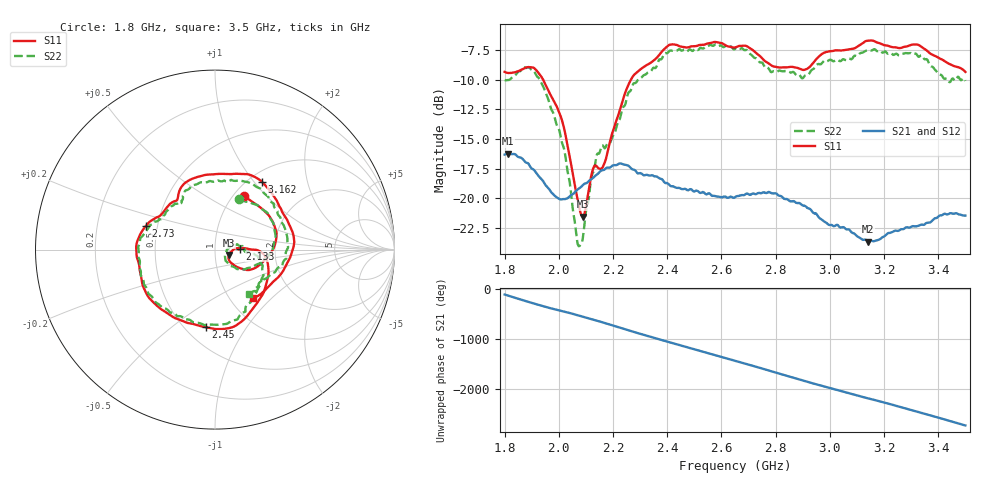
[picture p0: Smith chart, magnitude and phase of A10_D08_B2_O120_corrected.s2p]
! Created with skrf 1.9.0 (http://scikit-rf.org).
# Hz S RI R 50.0
!freq ReS11 ImS11 ReS21 ImS21 ReS12 ImS12 ReS22 ImS22
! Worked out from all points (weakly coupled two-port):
!   1601 points, 1.8 GHz to 3.5 GHz, reference 50 ohm
!   highest |S21| = -16.23 dB at 1.812 GHz (marker M1); lowest = -23.6 dB at 3.142 GHz (marker M2)
!   lowest |S11| = -21.5 dB at 2.089 GHz (marker M3), VSWR 1.18, Z = 58.4 - j3.44 ohm
!   |S11| at or under -10 dB: 1.942 GHz to 2.266 GHz (324.3 MHz wide, 15.4 % of centre)
!   |S22| runs from -24.0 to -7.0 dB; largest |S21 - S12| = 0.0031
!   S11 on the Smith chart (normalised r, x): 1.8 GHz: 1.12, +0.76; 2.133 GHz: 1.32, +0.01; 2.45 GHz: 0.63, -0.67; 2.73 GHz: 0.43, +0.13; 3.162 GHz: 1.15, +1.10; 3.5 GHz: 1.27, -0.77
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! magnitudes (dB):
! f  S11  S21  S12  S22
! 1.8 GHz  -9.4  -16.3  -16.3  -10.0
! 1.812 GHz  -9.4  -16.2  -16.2  -10.0
! 1.887 GHz  -9.0  -17.1  -17.1  -9.0
! 1.941 GHz  -10.0  -18.5  -18.5  -10.6
! 2.013 GHz  -13.5  -20.1  -20.1  -15.4
! 2.068 GHz  -19.9  -19.3  -19.3  -23.6
! 2.084 GHz  -21.4  -19.0  -19.0  -23.7
! 2.089 GHz  -21.5  -18.9  -18.9  -23.3
! 2.133 GHz  -17.2  -18.1  -18.1  -17.3
! 2.167 GHz  -17.1  -17.6  -17.6  -15.7
! 2.268 GHz  -9.9  -17.5  -17.5  -10.8
! 2.367 GHz  -8.0  -18.2  -18.2  -8.4
! 2.45 GHz  -7.2  -19.2  -19.2  -7.5
! 2.65 GHz  -7.3  -19.9  -19.9  -7.4
! 2.73 GHz  -7.8  -19.6  -19.6  -8.2
! 2.799 GHz  -8.9  -19.6  -19.6  -9.3
! 2.934 GHz  -8.7  -21.1  -21.1  -9.2
! 3.142 GHz  -6.7  -23.6  -23.5  -7.5
! 3.162 GHz  -6.7  -23.6  -23.6  -7.5
! 3.217 GHz  -7.2  -22.9  -22.9  -7.8
! 3.325 GHz  -7.1  -22.3  -22.3  -8.0
! 3.5 GHz  -9.4  -21.4  -21.4  -10.1
